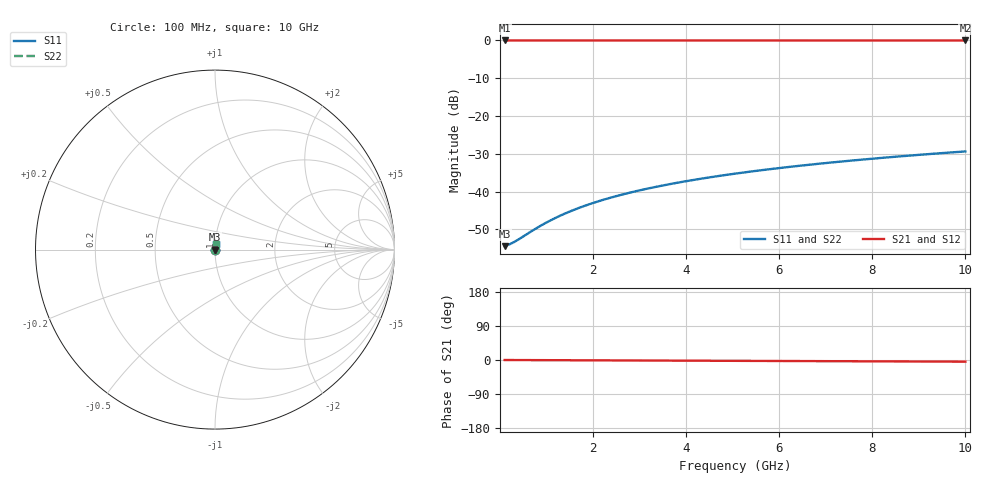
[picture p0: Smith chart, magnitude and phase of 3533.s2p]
# Hz S RI R 50.00
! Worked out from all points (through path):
!   100 points, 100 MHz to 10 GHz, reference 50 ohm
!   highest |S21| = -0.02 dB at 100 MHz (marker M1); lowest = 0.0 dB at 10 GHz (marker M2)
!   lowest |S11| = -54.4 dB at 100 MHz (marker M3), VSWR 1.00, Z = 50.2 + j0.034 ohm
!   |S11| at or under -10 dB: start of sweep to end of sweep
!   |S22| runs from -54.4 to -29.4 dB; largest |S21 - S12| = 0
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1e8  0.00187 0.000339  0.9981 -0.000763  0.9981 -0.000763  0.00187 0.000339
2e8  0.00188 0.000677  0.9981 -0.00153  0.9981 -0.00153  0.00188 0.000677
3e8  0.00189 0.00102  0.9981 -0.00229  0.9981 -0.00229  0.00189 0.00102
4e8  0.0019 0.00135  0.9981 -0.00305  0.9981 -0.00305  0.0019 0.00135
8e8  0.00193 0.00271  0.9981 -0.00611  0.9981 -0.00611  0.00193 0.00271
1.1e9  0.00196 0.00372  0.998 -0.00839  0.998 -0.00839  0.00196 0.00372
1.4e9  0.00199 0.00474  0.998 -0.0107  0.998 -0.0107  0.00199 0.00474
1.6e9  0.00201 0.00541  0.998 -0.0122  0.998 -0.0122  0.00201 0.00541
1.8e9  0.00203 0.00609  0.9979 -0.0137  0.9979 -0.0137  0.00203 0.00609
2.1e9  0.00207 0.00711  0.9979 -0.016  0.9979 -0.016  0.00207 0.00711
2.5e9  0.00213 0.00846  0.9978 -0.0191  0.9978 -0.0191  0.00213 0.00846
2.9e9  0.00219 0.00981  0.9977 -0.0221  0.9977 -0.0221  0.00219 0.00981
3.4e9  0.00228 0.0115  0.9976 -0.0259  0.9976 -0.0259  0.00228 0.0115
3.8e9  0.00237 0.0129  0.9975 -0.029  0.9975 -0.029  0.00237 0.0129
4.2e9  0.00245 0.0142  0.9974 -0.032  0.9974 -0.032  0.00245 0.0142
4.6e9  0.00255 0.0156  0.9972 -0.0351  0.9972 -0.0351  0.00255 0.0156
5.1e9  0.00269 0.0172  0.9971 -0.0389  0.9971 -0.0389  0.00269 0.0172
5.9e9  0.00293 0.0199  0.9967 -0.045  0.9967 -0.045  0.00293 0.0199
6.7e9  0.0032 0.0226  0.9964 -0.0511  0.9964 -0.0511  0.0032 0.0226
7.5e9  0.00351 0.0253  0.996 -0.0572  0.996 -0.0572  0.00351 0.0253
8.4e9  0.00389 0.0283  0.9954 -0.064  0.9954 -0.064  0.00389 0.0283
1e10  0.00467 0.0337  0.9944 -0.0762  0.9944 -0.0762  0.00467 0.0337
